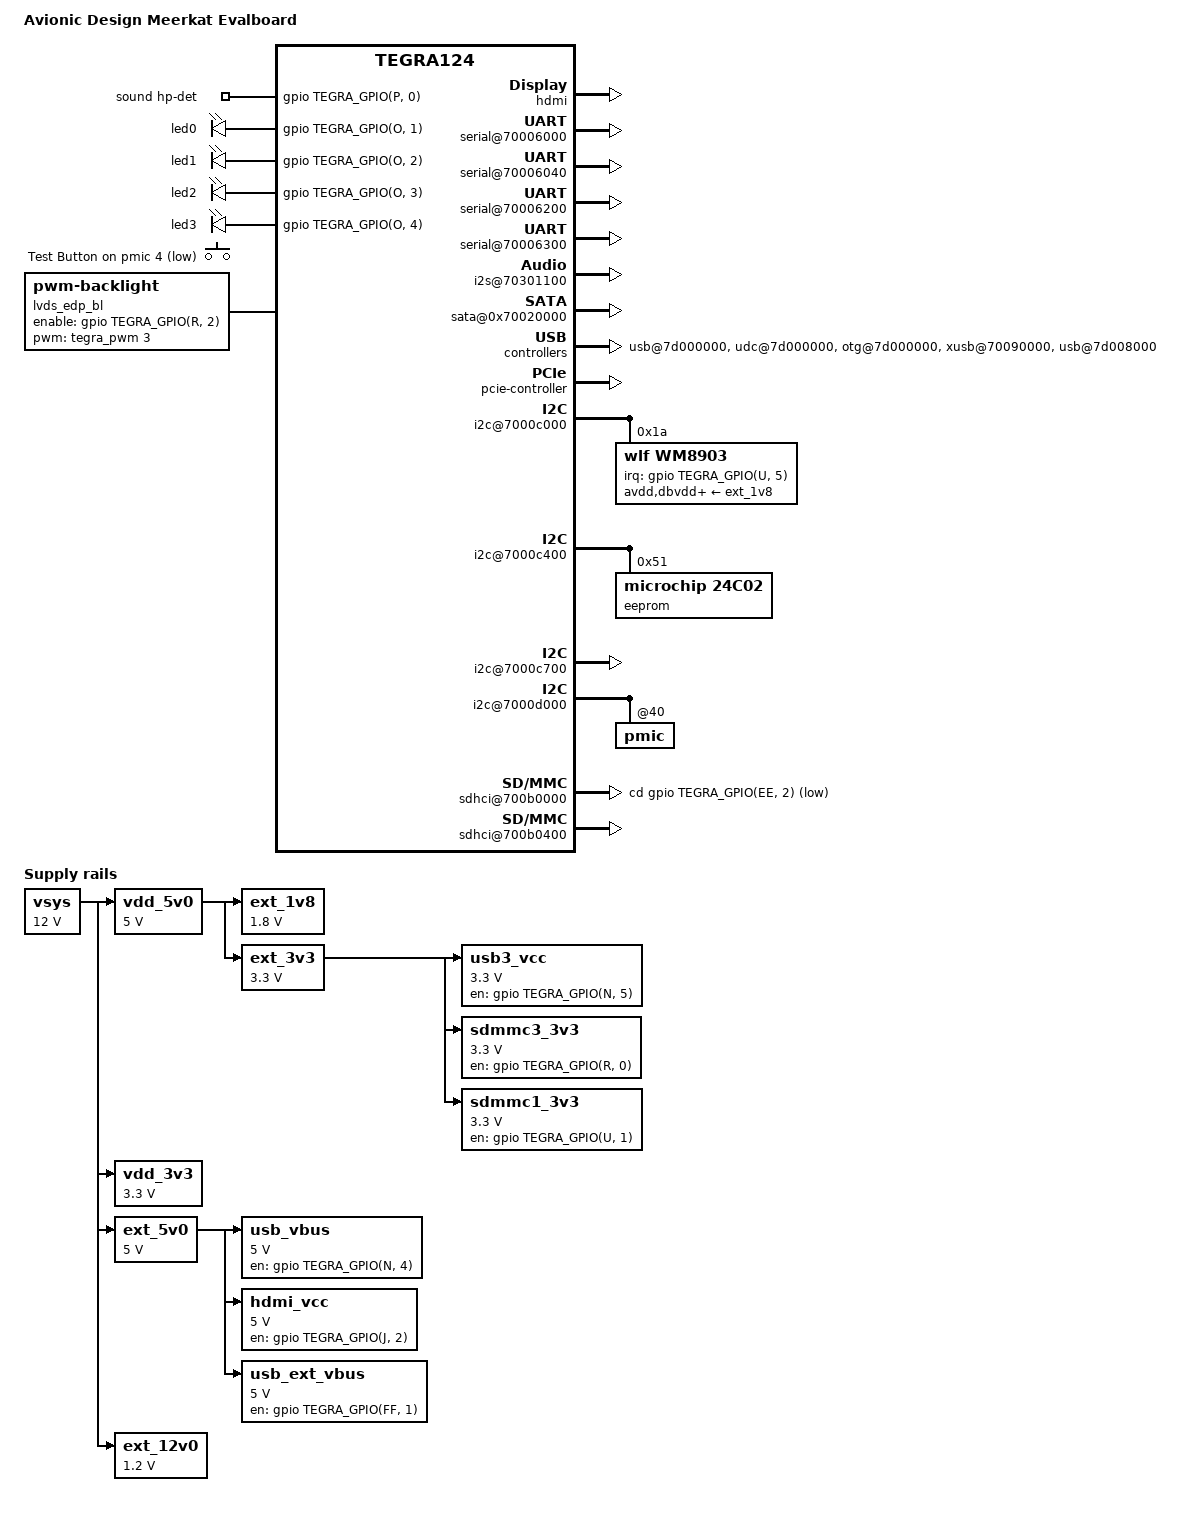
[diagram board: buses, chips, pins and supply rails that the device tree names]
/dts-v1/;

#include "tegra124-meerkat.dtsi"

/ {
	model = "Avionic Design Meerkat Evalboard";
	compatible = "ad,meerkat-evalboard", "ad,meerkat", "nvidia,tegra124";
	nvidia,dtsfilename = __FILE__;

	pinmux {
		common {
			dap2_din_pa4 {
				nvidia,tristate = <TEGRA_PIN_DISABLE>;
			};
			dap2_dout_pa5 {
				nvidia,tristate = <TEGRA_PIN_DISABLE>;
			};
			dap2_fs_pa2 {
				nvidia,tristate = <TEGRA_PIN_DISABLE>;
			};
			dap2_sclk_pa3 {
				nvidia,tristate = <TEGRA_PIN_DISABLE>;
			};
			dap3_fs_pp0 {
				nvidia,tristate = <TEGRA_PIN_DISABLE>;
			};
			uart3_rxd_pw7 {
				nvidia,tristate = <TEGRA_PIN_DISABLE>;
			};
			uart3_txd_pw6 {
				nvidia,tristate = <TEGRA_PIN_DISABLE>;
			};
			ph3 {
				nvidia,function = "pwm3";
				nvidia,tristate = <TEGRA_PIN_DISABLE>;
			};
		};
	};

	host1x {
		dc@54200000 {
			status = "okay";

			nvidia,dc-connection = "external-display";
			vdd_hdmi_5v0-supply = <&hdmi_vcc>;
		};

		hdmi {
			status = "okay";
		};
	};

	serial@70006000 {
		compatible = "nvidia,tegra114-hsuart", "nvidia,tegra30-hsuart";
		status = "okay";
	};

	serial@70006040 {
		compatible = "nvidia,tegra114-hsuart", "nvidia,tegra30-hsuart";
		status = "okay";
	};

	serial@70006200 {
		compatible = "nvidia,tegra114-hsuart", "nvidia,tegra30-hsuart";
		status = "okay";
	};

	serial@70006300 {
		status = "okay";
	};

	ahub {
		status = "okay";
		i2s@70301100 {
			status = "okay";
		};
	};

	/* SATA */
	sata@0x70020000 {
		status = "okay";
		vdd_sata-supply = <&ext_5v0>;
	};

	/* Recovery USB */
	usb@7d000000 {
		status = "okay";
		nvidia,port-otg;
		nvidia,remote-wakeup-supported;
		nvidia,power-off-on-suspend;

		usb_vbus-supply = <&usb_vbus>;
	};

	udc@7d000000 {
		status = "okay";

		usb_vbus-supply = <&usb_vbus>;
	};

	otg@7d000000 {
		status = "okay";

		usb_vbus-supply = <&usb_vbus>;
	};

	/* USB 3.0 */
	xusb@70090000 {
		status = "okay";
		nvidia,gpio_ss1_sata = <0>;
		nvidia,portmap = <(XUSB_MUX_USB2_P1 | XUSB_MUX_SS_P0)>;
		nvidia,ss_portmap = <XUSB_PADCTL_SS_PORTMAP(P1, DISABLE)>;
		nvidia,lane_owner = <0>;
		nvidia,ulpicap = <0>;
		usb_vbus1-supply = <&usb3_vcc>;
	};

	/* Expansion header USB */
	usb@7d008000 {
		status = "okay";
		usb_vbus-supply = <&usb_ext_vbus>;
	};

	pcie-controller {
		nvidia,port0_status = <1>;
		nvidia,port1_status = <0>;
		nvidia,lanes = <TEGRA_PCIE_LANES_X4_X0>;
		status = "okay";
	};

	i2c@7000c000 {
		status = "okay";

		wm8903: audio-codec@1a {
			compatible = "wlf,wm8903";
			reg = <0x1a>;

			interrupt-parent = <&gpio>;
			interrupts = <TEGRA_GPIO(U, 5) IRQ_TYPE_LEVEL_HIGH>;

			avdd-supply = <&ext_1v8>;
			dbvdd-supply = <&ext_1v8>;
			cpvdd-supply = <&ext_1v8>;
			dcvdd-supply = <&ext_1v8>;

			gpio-controller;
			#gpio-cells = <2>;

			micdet-cfg = <0>;
			micdet-delay = <100>;
		};
	};

	i2c@7000c400 {
		status = "okay";

		eeprom@51 {
			compatible = "microchip,24c02";
			reg = <0x51>;
			pagesize = <16>;
		};
	};

	/* HDMI DDC */
	i2c@7000c700 {
		status = "okay";
	};

	i2c@7000d000 {
		pmic@40 {
			ams,backup-battery-chargable;
			ams,battery-backup-charge-voltage = <AS3722_BBVOLT_3_0V>;
			ams,battery-backup-charge-current = <AS3722_BBCCUR_50UA>;
			ams,battery-backup-enable-bypass;
			ams,battery-backup-charge-mode = <AS3722_BBCMODE_ACT_STBY_OFF>;

			test_btn_pinmux: pinmux@1 {
				gpio4 {
					pins = "gpio4";
					function = "gpio";
					bias-disable;
					input-enable;
				};
			};
		};
	};

	hda@70030000 {
		status = "okay";
	};

	avp-audio {
		compatible = "nvidia,tegra124-avp-audio", "nvidia,tegra30-avp-audio";
	};

	audio-offload {
		compatible = "nvidia,tegra-offload";
	};

	sound {
		compatible = "ad,tegra-audio-wm8903-medcom-wide",
			     "nvidia,tegra-audio-wm8903";
		nvidia,model = "Avionic Design Meerkat WM8903";

		nvidia,audio-routing =
			"Headphone Jack", "HPOUTR",
			"Headphone Jack", "HPOUTL",
			"Mic Jack", "MICBIAS",
			"IN1R", "Mic Jack",
			"IN1L", "Mic Jack";

		nvidia,hp-det-gpios = <&gpio TEGRA_GPIO(P, 0) GPIO_ACTIVE_HIGH>;

		nvidia,memory-clients = <SWGID_PPCS>;
		nvidia,i2s-controller = <&tegra_i2s1>;
		nvidia,i2s-is-master;
		nvidia,audio-codec = <&wm8903>;
	};

	/* MMC / SDIO card slot */
	sdhci@700b0000 {
		status = "okay";
		cd-gpios = <&gpio TEGRA_GPIO(EE, 2) GPIO_ACTIVE_LOW>;
		vddio_sd_slot-supply = <&sdmmc1_3v3>;
	};

	/* MMC card slot */
	sdhci@700b0400 {
		status = "okay";
		vddio_sd_slot-supply = <&sdmmc3_3v3>;
	};

	regulators {
		vsys: regulator@100 {
			compatible = "regulator-fixed";
			reg = <100>;
			regulator-name = "VSYS";
			regulator-min-microvolt = <12000000>;
			regulator-max-microvolt = <12000000>;
			regulator-always-on;
			regulator-boot-on;
		};

		vdd_5v0: regulator@101 {
			compatible = "regulator-fixed";
			reg = <101>;
			regulator-name = "+5V_VSYS";
			regulator-min-microvolt = <5000000>;
			regulator-max-microvolt = <5000000>;
			regulator-always-on;
			regulator-boot-on;
			vin-supply = <&vsys>;
		};

		vdd_3v3: regulator@102 {
			compatible = "regulator-fixed";
			reg = <102>;
			regulator-name = "+3V3_VSYS";
			regulator-min-microvolt = <3300000>;
			regulator-max-microvolt = <3300000>;
			regulator-always-on;
			regulator-boot-on;
			vin-supply = <&vsys>;
		};

		ext_5v0: regulator@103 {
			compatible = "regulator-fixed";
			reg = <103>;
			regulator-name = "+5V_EXT";
			regulator-min-microvolt = <5000000>;
			regulator-max-microvolt = <5000000>;
			regulator-always-on;
			regulator-boot-on;
			vin-supply = <&vsys>;
		};

		ext_1v8: regulator@104 {
			compatible = "regulator-fixed";
			reg = <104>;
			regulator-name = "+1V8_EXT";
			regulator-min-microvolt = <1800000>;
			regulator-max-microvolt = <1800000>;
			regulator-always-on;
			regulator-boot-on;
			vin-supply = <&vdd_5v0>;
		};

		ext_3v3: regulator@105 {
			compatible = "regulator-fixed";
			reg = <105>;
			regulator-name = "+3V3_EXT";
			regulator-min-microvolt = <3300000>;
			regulator-max-microvolt = <3300000>;
			regulator-always-on;
			regulator-boot-on;
			vin-supply = <&vdd_5v0>;
		};

		ext_12v0: regulator@106 {
			compatible = "regulator-fixed";
			reg = <106>;
			regulator-name = "+12V_EXT";
			regulator-min-microvolt = <1200000>;
			regulator-max-microvolt = <1200000>;
			regulator-always-on;
			regulator-boot-on;
			vin-supply = <&vsys>;
		};

		usb_vbus: regulator@107 {
			compatible = "regulator-fixed";
			reg = <107>;
			regulator-name = "USB_VBUS";
			regulator-min-microvolt = <5000000>;
			regulator-max-microvolt = <5000000>;
			gpio = <&gpio TEGRA_GPIO(N, 4) GPIO_ACTIVE_HIGH>;
			enable-active-high;
			gpio-open-drain;
			vin-supply = <&ext_5v0>;
		};

		usb3_vcc: regulator@108 {
			compatible = "regulator-fixed";
			reg = <108>;
			regulator-name = "USB3_VCC";
			regulator-min-microvolt = <3300000>;
			regulator-max-microvolt = <3300000>;
			gpio = <&gpio TEGRA_GPIO(N, 5) GPIO_ACTIVE_HIGH>;
			enable-active-high;
			gpio-open-drain;
			vin-supply = <&ext_3v3>;
		};

		sdmmc3_3v3: regulator@109 {
			compatible = "regulator-fixed";
			reg = <109>;
			regulator-name = "+3V3_SDMMC3";
			regulator-min-microvolt = <3300000>;
			regulator-max-microvolt = <3300000>;
			regulator-enable-ramp-delay = <30000>;
			gpio = <&gpio TEGRA_GPIO(R, 0) GPIO_ACTIVE_HIGH>;
			enable-active-high;
			vin-supply = <&ext_3v3>;
		};

		sdmmc1_3v3: regulator@110 {
			compatible = "regulator-fixed";
			reg = <110>;
			regulator-name = "+3V3_SDMMC1";
			regulator-min-microvolt = <3300000>;
			regulator-max-microvolt = <3300000>;
			regulator-enable-ramp-delay = <30000>;
			gpio = <&gpio TEGRA_GPIO(U, 1) GPIO_ACTIVE_HIGH>;
			enable-active-high;
			vin-supply = <&ext_3v3>;
		};

		hdmi_vcc: regulator@111 {
			compatible = "regulator-fixed";
			reg = <111>;
			regulator-name = "HDMI_VCC";
			regulator-min-microvolt = <5000000>;
			regulator-max-microvolt = <5000000>;
			gpio = <&gpio TEGRA_GPIO(J, 2) GPIO_ACTIVE_HIGH>;
			enable-active-high;
			vin-supply = <&ext_5v0>;
		};

		usb_ext_vbus: regulator@112 {
			compatible = "regulator-fixed";
			reg = <112>;
			regulator-name = "USB_VBUS_EXT";
			regulator-min-microvolt = <5000000>;
			regulator-max-microvolt = <5000000>;
			gpio = <&gpio TEGRA_GPIO(FF, 1) GPIO_ACTIVE_HIGH>;
			enable-active-high;
			gpio-open-drain;
			vin-supply = <&ext_5v0>;
		};
	};

	pwm-fan {
		status = "okay";
	};

	leds {
		compatible = "gpio-leds";

		led0 {
			gpios = <&gpio TEGRA_GPIO(O, 1) GPIO_ACTIVE_HIGH>;
			default-state = "keep";
		};

		led1 {
			gpios = <&gpio TEGRA_GPIO(O, 2) GPIO_ACTIVE_HIGH>;
			default-state = "keep";
		};

		led2 {
			gpios = <&gpio TEGRA_GPIO(O, 3) GPIO_ACTIVE_HIGH>;
			default-state = "keep";
		};

		led3 {
			gpios = <&gpio TEGRA_GPIO(O, 4) GPIO_ACTIVE_HIGH>;
			default-state = "keep";
		};
	};

	buttons {
		compatible = "gpio-keys-polled";
		#address-cells = <1>;
		#size-cells = <0>;

		pinctrl-names = "default";
		pinctrl-0 = <&test_btn_pinmux>;

		poll-interval = <100>;

		button@0 {
			reg = <0>;
			label = "Test Button";
			linux,code = <KEY_ENTER>;

			gpios = <&pmic 4 GPIO_ACTIVE_LOW>;
		};
	};

	lvds_edp_bl: backlight {
		compatible = "pwm-backlight";
		enable-gpios = <&gpio TEGRA_GPIO(R, 2) GPIO_ACTIVE_HIGH>;
		pwms = <&tegra_pwm 3 1000000>;
		brightness-levels = <0 4 8 16 32 64 128 255>;
		default-brightness-level = <7>;
	};
};
